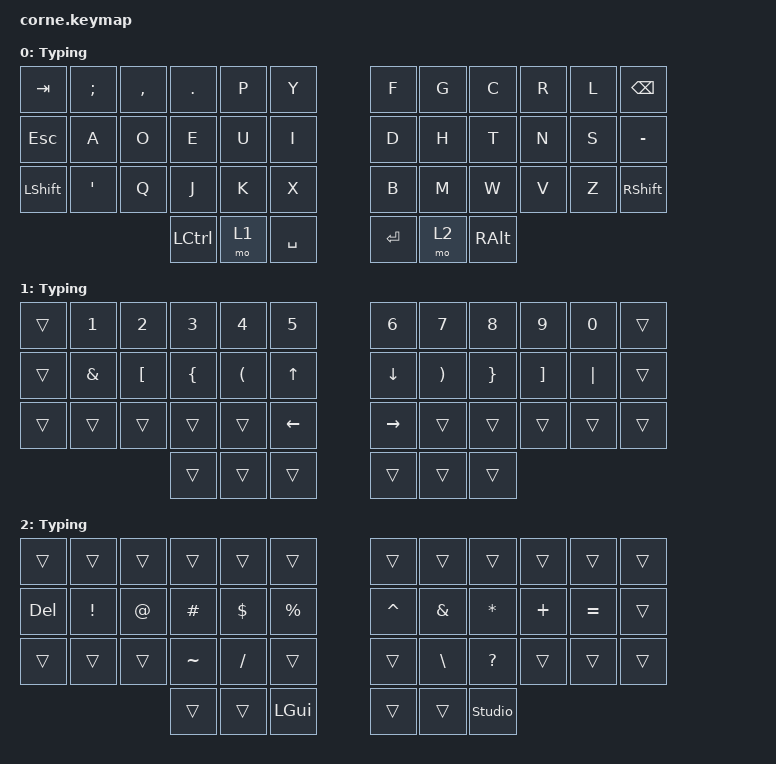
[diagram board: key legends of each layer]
/*
 * Copyright (c) 2020 The ZMK Contributors
 *
 * SPDX-License-Identifier: MIT
 */

#include <behaviors.dtsi>
#include <dt-bindings/zmk/keys.h>
#include <dt-bindings/zmk/bt.h>

/ {
        keymap {
                compatible = "zmk,keymap";

				typing {
						display-name = "Typing";
						bindings = <
								&kp TAB		&kp SEMI	&kp COMMA	&kp DOT		&kp P    	&kp Y						&kp F   	&kp G 		&kp C  		&kp R 		&kp L 		&kp BSPC
								&kp ESC		&kp A    	&kp O		&kp E 		&kp U   	&kp I 						&kp D   	&kp H 		&kp T  		&kp N 		&kp S 		&kp MINUS
								&kp LSHFT	&kp QUOT 	&kp Q 		&kp J 		&kp K 		&kp X						&kp B   	&kp M 		&kp W  		&kp V 		&kp Z 		&kp RSHFT
																	&kp LCTRL	&mo 1		&kp SPACE					&kp RET 	&mo 2 		&kp RALT
					    >;
				};

                brace {
						display-name = "Typing";
                        bindings = <
								&trans		&kp N1 		&kp N2      &kp N3      &kp N4      &kp N5         				&kp N6   	&kp N7   	&kp N8 		&kp N9    	&kp N0 		&trans
								&trans		&kp AMPS    &kp LBKT    &kp LBRC    &kp LPAR    &kp UP         				&kp DOWN 	&kp RPAR 	&kp RBRC 	&kp RBKT 	&kp PIPE 	&trans
								&trans		&trans      &trans      &trans      &trans      &kp LEFT      				&kp RIGHT	&trans		&trans		&trans		&trans		&trans
                            										&trans   	&trans      &trans      				&trans  	&trans   	&trans
                        >;
                };

                symboles {
						display-name = "Typing";
                        bindings = <
								&trans		&trans		&trans		&trans		&trans		&trans         				&trans		&trans		&trans		&trans		&trans		&trans
								&kp DEL		&kp EXCLAMATION	&kp AT	&kp HASH	&kp DOLLAR	&kp PERCENT					&kp CARET	&kp AMPS	&kp ASTERISK &kp PLUS	&kp EQUAL	&trans
								&trans		&trans		&trans		&kp TILDE	&kp SLASH	&trans						&trans		&kp BACKSLASH &kp QUESTION &trans	&trans		&trans
                            										&trans		&trans		&kp LGUI					&trans		&trans		&studio_unlock
                        >;
                };
        };
};


/*
				layer_name {
						bindings = <
								&trans		&trans		&trans		&trans		&trans		&trans         				&trans		&trans		&trans		&trans		&trans		&trans
								&trans		&trans		&trans		&trans		&trans		&trans						&trans		&trans		&trans		&trans		&trans		&trans
								&trans		&trans		&trans		&trans		&trans		&trans						&trans		&trans		&trans		&trans		&trans		&trans
																	&trans		&trans		&trans						&trans		&trans		&trans
						>;
				};

				layer_name {
						bindings = <
								&none   	&none   	&none   	&none   	&none   	&none           			&none   	&none   	&none   	&none   	&none   	&none
								&none   	&none   	&none   	&none   	&none   	&none           			&none   	&none   	&none   	&none   	&none   	&none
								&none   	&none   	&none   	&none   	&none   	&none           			&none   	&none   	&none   	&none   	&none   	&none
																	&none   	&none   	&none           			&none   	&none   	&none
    					>;
				};
*/
